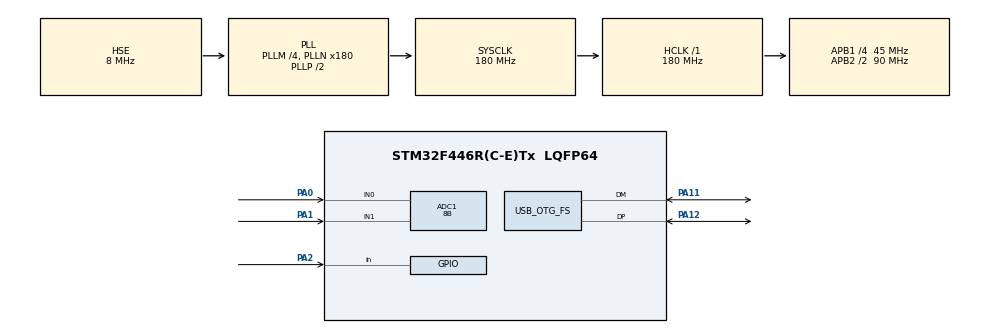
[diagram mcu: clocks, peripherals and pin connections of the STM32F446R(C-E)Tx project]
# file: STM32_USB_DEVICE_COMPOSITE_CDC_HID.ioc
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ADC1.Channel-0\#ChannelRegularConversion=ADC_CHANNEL_0
ADC1.Channel-1\#ChannelRegularConversion=ADC_CHANNEL_1
ADC1.ContinuousConvMode=ENABLE
ADC1.DMAContinuousRequests=ENABLE
ADC1.EOCSelection=ADC_EOC_SEQ_CONV
ADC1.NbrOfConversion=2
ADC1.NbrOfConversionFlag=1
ADC1.Rank-0\#ChannelRegularConversion=1
ADC1.Rank-1\#ChannelRegularConversion=2
ADC1.Resolution=ADC_RESOLUTION_8B
ADC1.SamplingTime-0\#ChannelRegularConversion=ADC_SAMPLETIME_480CYCLES
ADC1.SamplingTime-1\#ChannelRegularConversion=ADC_SAMPLETIME_480CYCLES
ADC1.master=1
Dma.ADC1.0.Direction=DMA_PERIPH_TO_MEMORY
Dma.ADC1.0.FIFOMode=DMA_FIFOMODE_DISABLE
Dma.ADC1.0.Instance=DMA2_Stream0
Dma.ADC1.0.MemDataAlignment=DMA_MDATAALIGN_BYTE
Dma.ADC1.0.MemInc=DMA_MINC_ENABLE
Dma.ADC1.0.Mode=DMA_CIRCULAR
Dma.ADC1.0.PeriphDataAlignment=DMA_PDATAALIGN_BYTE
Dma.ADC1.0.PeriphInc=DMA_PINC_DISABLE
Dma.ADC1.0.Priority=DMA_PRIORITY_LOW
Dma.Request0=ADC1
Mcu.Family=STM32F4
Mcu.Name=STM32F446R(C-E)Tx
Mcu.Package=LQFP64
NVIC.DMA2_Stream0_IRQn=true\:0\:0\:false\:false\:true\:false\:true\:true
NVIC.OTG_FS_IRQn=true\:0\:0\:false\:false\:true\:false\:true\:true
NVIC.PriorityGroup=NVIC_PRIORITYGROUP_4
PA0-WKUP.Signal=ADCx_IN0
PA1.Signal=ADCx_IN1
PA11.Mode=Device_Only
PA11.Signal=USB_OTG_FS_DM
PA12.Mode=Device_Only
PA12.Signal=USB_OTG_FS_DP
PA13.Mode=Serial_Wire
PA13.Signal=SYS_JTMS-SWDIO
PA14.Mode=Serial_Wire
PA14.Signal=SYS_JTCK-SWCLK
PA2.GPIO_PuPd=GPIO_PULLUP
PA2.Signal=GPIO_Input
PH0-OSC_IN.Mode=HSE-External-Oscillator
PH0-OSC_IN.Signal=RCC_OSC_IN
PH1-OSC_OUT.Mode=HSE-External-Oscillator
PH1-OSC_OUT.Signal=RCC_OSC_OUT
ProjectManager.HeapSize=0x200
ProjectManager.StackSize=0x400
ProjectManager.TargetToolchain=STM32CubeIDE
RCC.AHBFreq_Value=180000000
RCC.APB1CLKDivider=RCC_HCLK_DIV4
RCC.APB1Freq_Value=45000000
RCC.APB1TimFreq_Value=90000000
RCC.APB2CLKDivider=RCC_HCLK_DIV2
RCC.APB2Freq_Value=90000000
RCC.APB2TimFreq_Value=180000000
RCC.CortexFreq_Value=180000000
RCC.HCLKFreq_Value=180000000
RCC.HSE_VALUE=8000000
RCC.PLLM=4
RCC.PLLN=180
RCC.PLLSAIM=8
RCC.PLLSAIP=RCC_PLLSAIP_DIV4
RCC.PLLSourceVirtual=RCC_PLLSOURCE_HSE
RCC.SYSCLKFreq_VALUE=180000000
RCC.SYSCLKSource=RCC_SYSCLKSOURCE_PLLCLK
RCC.USBCLockSelection=RCC_CLK48CLKSOURCE_PLLSAIP
RCC.USBFreq_Value=48000000
RCC.VCOOutputFreq_Value=360000000
SH.ADCx_IN0.0=ADC1_IN0,IN0
SH.ADCx_IN1.0=ADC1_IN1,IN1
USB_DEVICE.APP_RX_DATA_SIZE-CDC_FS=1024
USB_DEVICE.APP_TX_DATA_SIZE-CDC_FS=1024
USB_DEVICE.CLASS_NAME_FS=CDC
USB_DEVICE.USBD_MAX_NUM_INTERFACES-CDC_FS=2
USB_DEVICE.VirtualMode-CDC_FS=Cdc
USB_DEVICE.VirtualModeFS=Cdc_FS
USB_OTG_FS.VirtualMode=Device_Only
VP_USB_DEVICE_VS_USB_DEVICE_CDC_FS.Mode=CDC_FS
board=custom

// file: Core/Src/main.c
/* USER CODE BEGIN Header */
/**
  ******************************************************************************
  * @file           : main.c
  * @brief          : Main program body
  ******************************************************************************
  * @attention
  *
  * Copyright (c) 2026 STMicroelectronics.
  * All rights reserved.
  *
  * This software is licensed under terms that can be found in the LICENSE file
  * in the root directory of this software component.
  * If no LICENSE file comes with this software, it is provided AS-IS.
  *
  ******************************************************************************
  */
/* USER CODE END Header */
#include "main.h"
#include "usb_device.h"

/* USER CODE BEGIN Includes */
#include "usbd_cdc_if.h"
#include "stdio.h"
#include "usbd_hid.h"
/* USER CODE END Includes */

ADC_HandleTypeDef hadc1;
DMA_HandleTypeDef hdma_adc1;

void SystemClock_Config(void);
static void MX_GPIO_Init(void);
static void MX_DMA_Init(void);
static void MX_ADC1_Init(void);

/* USER CODE BEGIN 0 */

int _write(int fd, unsigned char *buf, int len) {
  if (fd == 1 || fd == 2) {                     // stdout or stderr ?
    CDC_Transmit_FS(buf, len);
  }
  return len;
}

extern USBD_HandleTypeDef hUsbDeviceFS;

extern uint8_t HID_ID;

uint8_t HID_Buffer[3] = {127, 127, 0};

uint8_t ADC_Val[2];

void HAL_ADC_ConvCpltCallback(ADC_HandleTypeDef *hadc)
{
	HID_Buffer[0] = ADC_Val[0];
	HID_Buffer[1] = ADC_Val[1];
}

/* USER CODE END 0 */

int main(void)
{

  /* MCU Configuration--------------------------------------------------------*/

  /* Reset of all peripherals, Initializes the Flash interface and the Systick. */
  HAL_Init();

  /* Configure the system clock */
  SystemClock_Config();

  /* Initialize all configured peripherals */
  MX_GPIO_Init();
  MX_DMA_Init();
  MX_ADC1_Init();
  MX_USB_DEVICE_Init();
  /* USER CODE BEGIN 2 */

  HAL_ADC_Start_DMA(&hadc1, (uint32_t *)ADC_Val, 2);

  /* USER CODE END 2 */

  /* Infinite loop */
  while (1)
  {

    /* USER CODE BEGIN 3 */

	  if (HAL_GPIO_ReadPin(GPIOA, GPIO_PIN_2) == 0)
	  {
		  HID_Buffer[2] = 1;
	  }

	  else {
		  HID_Buffer[2] = 0;
	  }

	  USBD_HID_SendReport(&hUsbDeviceFS, HID_Buffer, 3, HID_ID);
	  printf ("X: %d, Y: %d, B: %d\r\n", HID_Buffer[0], HID_Buffer[1], HID_Buffer[2]);
	  HAL_Delay(100);
  }
  /* USER CODE END 3 */
}

void SystemClock_Config(void)
{
  RCC_OscInitTypeDef RCC_OscInitStruct = {0};
  RCC_ClkInitTypeDef RCC_ClkInitStruct = {0};

  /** Configure the main internal regulator output voltage
  */
  __HAL_RCC_PWR_CLK_ENABLE();
  __HAL_PWR_VOLTAGESCALING_CONFIG(PWR_REGULATOR_VOLTAGE_SCALE1);

  /** Initializes the RCC Oscillators according to the specified parameters
  * in the RCC_OscInitTypeDef structure.
  */
  RCC_OscInitStruct.OscillatorType = RCC_OSCILLATORTYPE_HSE;
  RCC_OscInitStruct.HSEState = RCC_HSE_ON;
  RCC_OscInitStruct.PLL.PLLState = RCC_PLL_ON;
  RCC_OscInitStruct.PLL.PLLSource = RCC_PLLSOURCE_HSE;
  RCC_OscInitStruct.PLL.PLLM = 4;
  RCC_OscInitStruct.PLL.PLLN = 180;
  RCC_OscInitStruct.PLL.PLLP = RCC_PLLP_DIV2;
  RCC_OscInitStruct.PLL.PLLQ = 2;
  RCC_OscInitStruct.PLL.PLLR = 2;
  if (HAL_RCC_OscConfig(&RCC_OscInitStruct) != HAL_OK)
  {
    Error_Handler();
  }

  /** Activate the Over-Drive mode
  */
  if (HAL_PWREx_EnableOverDrive() != HAL_OK)
  {
    Error_Handler();
  }

  /** Initializes the CPU, AHB and APB buses clocks
  */
  RCC_ClkInitStruct.ClockType = RCC_CLOCKTYPE_HCLK|RCC_CLOCKTYPE_SYSCLK
                              |RCC_CLOCKTYPE_PCLK1|RCC_CLOCKTYPE_PCLK2;
  RCC_ClkInitStruct.SYSCLKSource = RCC_SYSCLKSOURCE_PLLCLK;
  RCC_ClkInitStruct.AHBCLKDivider = RCC_SYSCLK_DIV1;
  RCC_ClkInitStruct.APB1CLKDivider = RCC_HCLK_DIV4;
  RCC_ClkInitStruct.APB2CLKDivider = RCC_HCLK_DIV2;

  if (HAL_RCC_ClockConfig(&RCC_ClkInitStruct, FLASH_LATENCY_5) != HAL_OK)
  {
    Error_Handler();
  }
}

static void MX_ADC1_Init(void)
{

  ADC_ChannelConfTypeDef sConfig = {0};

  /** Configure the global features of the ADC (Clock, Resolution, Data Alignment and number of conversion)
  */
  hadc1.Instance = ADC1;
  hadc1.Init.ClockPrescaler = ADC_CLOCK_SYNC_PCLK_DIV4;
  hadc1.Init.Resolution = ADC_RESOLUTION_8B;
  hadc1.Init.ScanConvMode = ENABLE;
  hadc1.Init.ContinuousConvMode = ENABLE;
  hadc1.Init.DiscontinuousConvMode = DISABLE;
  hadc1.Init.ExternalTrigConvEdge = ADC_EXTERNALTRIGCONVEDGE_NONE;
  hadc1.Init.ExternalTrigConv = ADC_SOFTWARE_START;
  hadc1.Init.DataAlign = ADC_DATAALIGN_RIGHT;
  hadc1.Init.NbrOfConversion = 2;
  hadc1.Init.DMAContinuousRequests = ENABLE;
  hadc1.Init.EOCSelection = ADC_EOC_SEQ_CONV;
  if (HAL_ADC_Init(&hadc1) != HAL_OK)
  {
    Error_Handler();
  }

  /** Configure for the selected ADC regular channel its corresponding rank in the sequencer and its sample time.
  */
  sConfig.Channel = ADC_CHANNEL_0;
  sConfig.Rank = 1;
  sConfig.SamplingTime = ADC_SAMPLETIME_480CYCLES;
  if (HAL_ADC_ConfigChannel(&hadc1, &sConfig) != HAL_OK)
  {
    Error_Handler();
  }

  /** Configure for the selected ADC regular channel its corresponding rank in the sequencer and its sample time.
  */
  sConfig.Channel = ADC_CHANNEL_1;
  sConfig.Rank = 2;
  if (HAL_ADC_ConfigChannel(&hadc1, &sConfig) != HAL_OK)
  {
    Error_Handler();
  }

}

static void MX_DMA_Init(void)
{

  /* DMA controller clock enable */
  __HAL_RCC_DMA2_CLK_ENABLE();

  /* DMA interrupt init */
  /* DMA2_Stream0_IRQn interrupt configuration */
  HAL_NVIC_SetPriority(DMA2_Stream0_IRQn, 0, 0);
  HAL_NVIC_EnableIRQ(DMA2_Stream0_IRQn);

}

static void MX_GPIO_Init(void)
{
  GPIO_InitTypeDef GPIO_InitStruct = {0};

  /* GPIO Ports Clock Enable */
  __HAL_RCC_GPIOH_CLK_ENABLE();
  __HAL_RCC_GPIOA_CLK_ENABLE();

  /*Configure GPIO pin : PA2 */
  GPIO_InitStruct.Pin = GPIO_PIN_2;
  GPIO_InitStruct.Mode = GPIO_MODE_INPUT;
  GPIO_InitStruct.Pull = GPIO_PULLUP;
  HAL_GPIO_Init(GPIOA, &GPIO_InitStruct);

}

void Error_Handler(void)
{
  __disable_irq();
  while (1)
  {
  }
}
